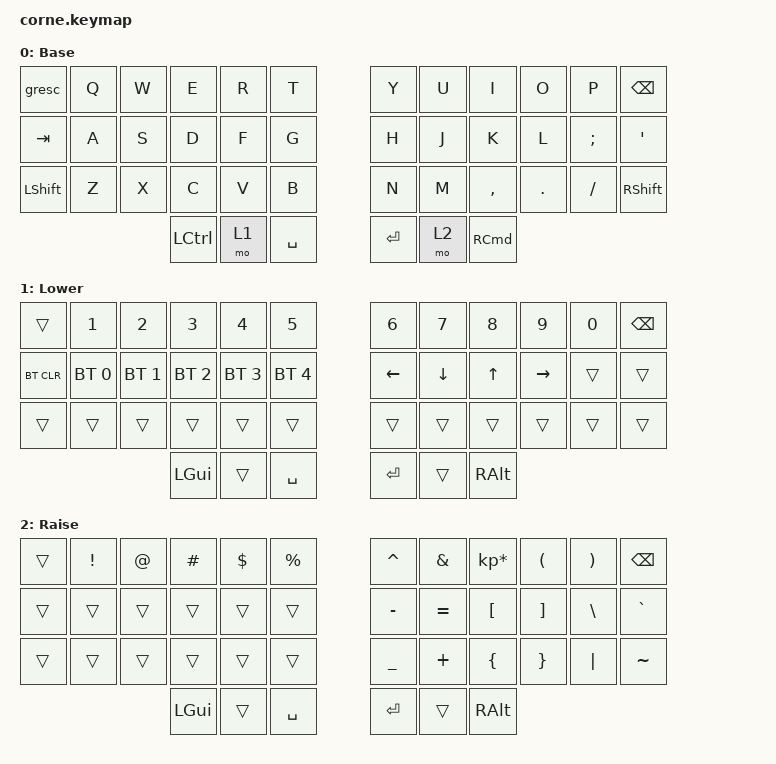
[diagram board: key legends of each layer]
/*
 * Copyright (c) 2020 The ZMK Contributors
 *
 * SPDX-License-Identifier: MIT
 */

#include <behaviors.dtsi>
#include <dt-bindings/zmk/bt.h>
#include <dt-bindings/zmk/keys.h>

&mt {
    tapping-term-ms = <240>;
};

&lt {
    tapping-term-ms = <240>;
};

/*
 * Assign the cs-gpios pin to 16.
 * Uncomment these next few lines if implementing nice!view Displays
 */

nice_view_spi: &spi0 { cs-gpios = <&pro_micro 16 GPIO_ACTIVE_HIGH>; };

/ {
    keymap {
        compatible = "zmk,keymap";

        default_layer {
            // -----------------------------------------------------------------------------------------
            // |  TAB |  Q  |  W  |  E  |  R  |  T  |   |  Y  |  U   |  I  |  O  |  P  | BKSP |
            // | CTRL |  A  |  S  |  D  |  F  |  G  |   |  H  |  J   |  K  |  L  |  ;  |  '   |
            // | SHFT |  Z  |  X  |  C  |  V  |  B  |   |  N  |  M   |  ,  |  .  |  /  | ESC  |
            //                    | GUI | LWR | SPC |   | ENT | RSE  | ALT |

            display-name = "Base";
            bindings = <
&gresc     &kp Q  &kp W  &kp E      &kp R  &kp T        &kp Y    &kp U  &kp I              &kp O    &kp P     &kp BSPC
&kp TAB    &kp A  &kp S  &kp D      &kp F  &kp G        &kp H    &kp J  &kp K              &kp L    &kp SEMI  &kp SQT
&kp LSHFT  &kp Z  &kp X  &kp C      &kp V  &kp B        &kp N    &kp M  &kp COMMA          &kp DOT  &kp FSLH  &kp RIGHT_SHIFT
                         &kp LCTRL  &mo 1  &kp SPACE    &kp RET  &mo 2  &kp RIGHT_COMMAND
            >;
        };

        lower_layer {
            // -----------------------------------------------------------------------------------------
            // |  TAB |  1  |  2  |  3  |  4  |  5  |   |  6  |  7  |  8  |  9  |  0  | BKSP |
            // | BTCLR| BT1 | BT2 | BT3 | BT4 | BT5 |   | LFT | DWN |  UP | RGT |     |      |
            // | SHFT |     |     |     |     |     |   |     |     |     |     |     |      |
            //                    | GUI |     | SPC |   | ENT |     | ALT |

            display-name = "Lower";
            bindings = <
&trans      &kp N1        &kp N2        &kp N3        &kp N4        &kp N5          &kp N6    &kp N7    &kp N8    &kp N9     &kp N0  &kp BSPC
&bt BT_CLR  &bt BT_SEL 0  &bt BT_SEL 1  &bt BT_SEL 2  &bt BT_SEL 3  &bt BT_SEL 4    &kp LEFT  &kp DOWN  &kp UP    &kp RIGHT  &trans  &trans
&trans      &trans        &trans        &trans        &trans        &trans          &trans    &trans    &trans    &trans     &trans  &trans
                                        &kp LGUI      &trans        &kp SPACE       &kp RET   &trans    &kp RALT
            >;
        };

        raise_layer {
            // -----------------------------------------------------------------------------------------
            // |  TAB |  !  |  @  |  #  |  $  |  %  |   |  ^  |  &  |  *  |  (  |  )  | BKSP |
            // | CTRL |     |     |     |     |     |   |  -  |  =  |  [  |  ]  |  \  |  `   |
            // | SHFT |     |     |     |     |     |   |  _  |  +  |  {  |  }  | "|" |  ~   |
            //                    | GUI |     | SPC |   | ENT |     | ALT |

            display-name = "Raise";
            bindings = <
&trans  &kp EXCL  &kp AT  &kp HASH  &kp DLLR  &kp PRCNT    &kp CARET  &kp AMPS   &kp KP_MULTIPLY  &kp LPAR  &kp RPAR  &kp BSPC
&trans  &trans    &trans  &trans    &trans    &trans       &kp MINUS  &kp EQUAL  &kp LBKT         &kp RBKT  &kp BSLH  &kp GRAVE
&trans  &trans    &trans  &trans    &trans    &trans       &kp UNDER  &kp PLUS   &kp LBRC         &kp RBRC  &kp PIPE  &kp TILDE
                          &kp LGUI  &trans    &kp SPACE    &kp RET    &trans     &kp RALT
            >;
        };

        extra_1 { status = "reserved"; };

        extra_2 { status = "reserved"; };

        extra_3 { status = "reserved"; };
    };
};
